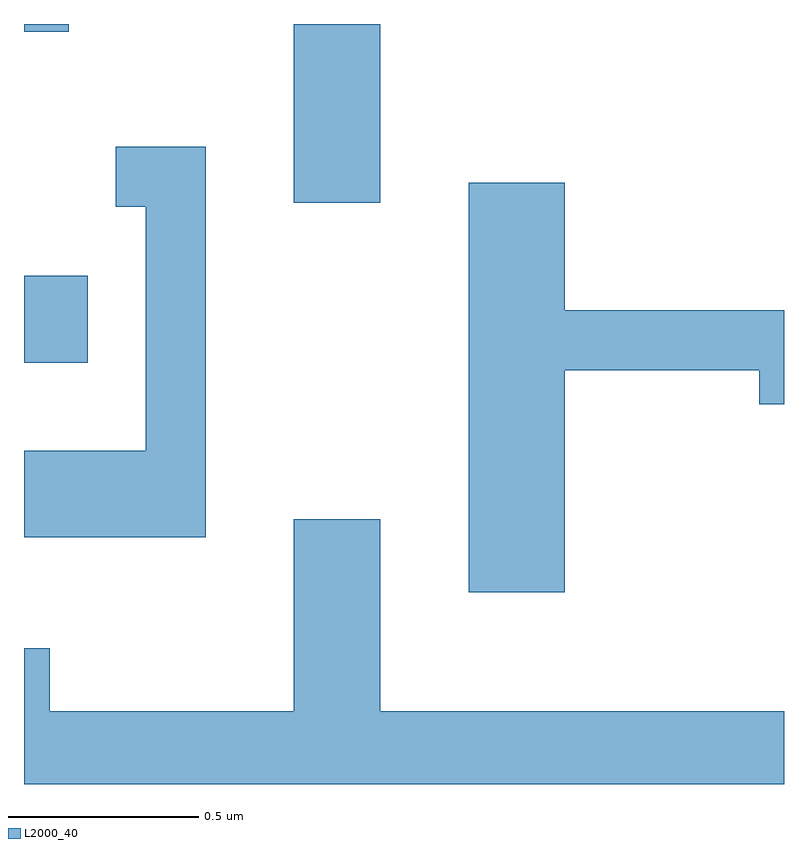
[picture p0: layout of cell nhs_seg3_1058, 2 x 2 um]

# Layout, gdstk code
import gdstk
lib = gdstk.Library(unit=1e-6, precision=1e-09)
def R(c, l, rs):  # rectangles x0, y0, x1, y1
    for r in rs: c.add(gdstk.rectangle(r[:2], r[2:], *l))
def P(c, l, *ps):  # polygons
    for p in ps: c.add(gdstk.Polygon(p, *l))
L2000_40 = (2000, 40)

nhs_seg3_1058 = lib.new_cell('nhs_seg3_1058')
R(nhs_seg3_1058, L2000_40, [(192.611,1216.001,192.779,1216.229), (193.321,1216.421,193.549,1216.892), (192.611,1216.871,192.729,1216.892)])
P(nhs_seg3_1058, L2000_40, [(193.089,1216.569),(192.853,1216.569),(192.853,1216.411),(192.931,1216.411),(192.931,1215.769),(192.611,1215.769),(192.611,1215.541),(193.089,1215.541)],
  [(194.034,1215.981),(194.546,1215.981),(194.546,1215.891),(194.611,1215.891),(194.611,1216.139),(194.034,1216.139),(194.034,1216.474),(193.781,1216.474),(193.781,1215.396),(194.034,1215.396)],
  [(194.611,1215.084),(193.549,1215.084),(193.549,1215.589),(193.321,1215.589),(193.321,1215.084),(192.679,1215.084),(192.679,1215.249),(192.611,1215.249),(192.611,1214.892),(194.611,1214.892)])

lib.write_gds('nhs_seg3_1058.gds')
